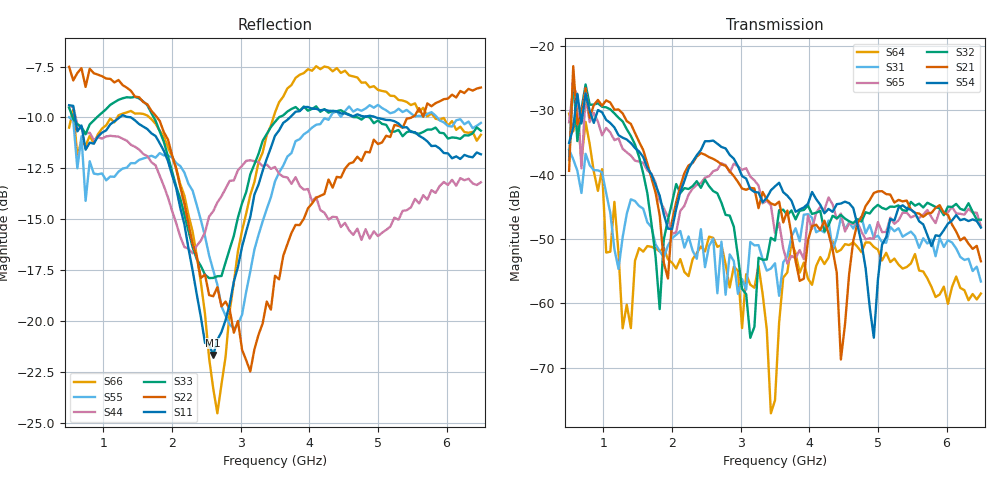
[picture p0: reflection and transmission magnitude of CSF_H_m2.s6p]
!Keysight Technologies,M9804A,MY58100912,A.14.10.03
!Date: Thursday, April 27, 2023 10:28:33
!Correction: S11(C  6-Port  )
!S12(C  6-Port  )
!S13(C  6-Port  )
!S14(C  6-Port  )
!S15(C  6-Port  )
!S16(C  6-Port  )
!S21(C  6-Port  )
!S22(C  6-Port  )
!S23(C  6-Port  )
!S24(C  6-Port  )
!S25(C  6-Port  )
!S26(C  6-Port  )
!S31(C  6-Port  )
!S32(C  6-Port  )
!S33(C  6-Port  )
!S34(C  6-Port  )
!S35(C  6-Port  )
!S36(C  6-Port  )
!S41(C  6-Port  )
!S42(C  6-Port  )
!S43(C  6-Port  )
!S44(C  6-Port  )
!S45(C  6-Port  )
!S46(C  6-Port  )
!S51(C  6-Port  )
!S52(C  6-Port  )
!S53(C  6-Port  )
!S54(C  6-Port  )
!S55(C  6-Port  )
!S56(C  6-Port  )
!S61(C  6-Port  )
!S62(C  6-Port  )
!S63(C  6-Port  )
!S64(C  6-Port  )
!S65(C  6-Port  )
!S66(C  6-Port  )
!S6P File: Measurement: :
# Hz S  RI  R 50
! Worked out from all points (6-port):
!   101 points, 500 MHz to 6.5 GHz, reference 50 ohm
!   strongest paths, dB at 500 MHz, 2 GHz, 3.5 GHz, 5 GHz, 6.5 GHz:
!     S54: -35.0, -48.4, -41.8, -56.2, -48.2
!     S21: -39.4, -47.2, -44.7, -42.6, -53.4
!     S32: -37.7, -44.3, -50.2, -44.7, -47.0
!     S65: -31.8, -49.2, -49.1, -47.4, -48.0
!     S31: -36.1, -49.9, -53.7, -49.5, -56.6
!     S64: -30.5, -53.7, -75.0, -51.6, -58.5
!   lowest |S11| = -21.7 dB at 2.6 GHz (marker M1), VSWR 1.18, Z = 42.6 + j2.01 ohm
!   |S11| at or under -10 dB: 587.2 MHz to 1.235 GHz (648 MHz wide, 71.1 % of centre); 1.402 GHz to 3.718 GHz (2.315 GHz wide, 90.4 % of centre); 4.972 GHz to end of sweep
